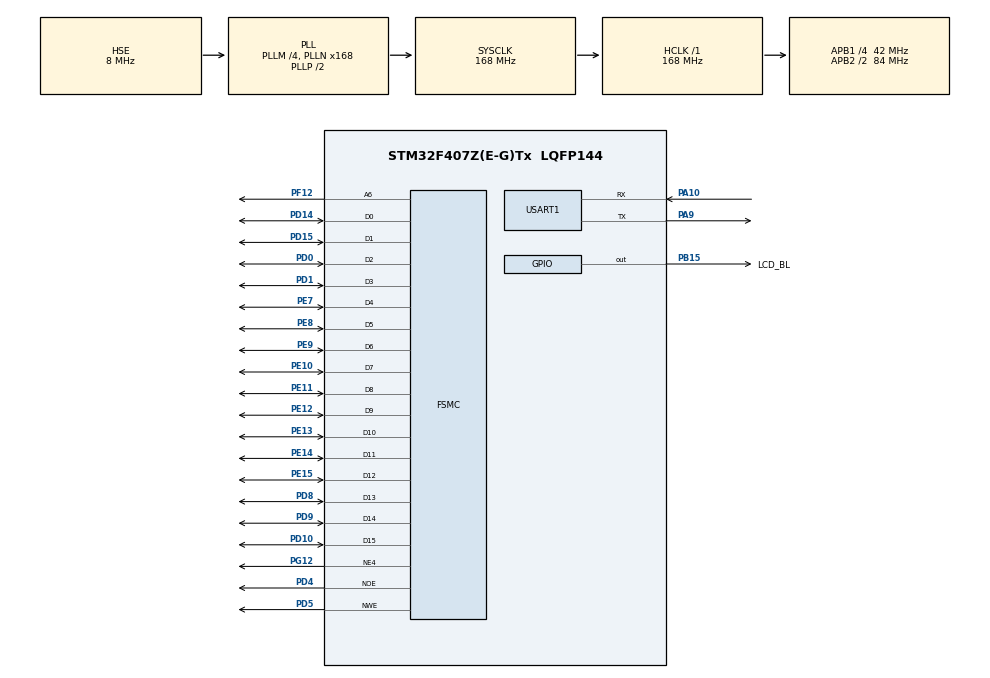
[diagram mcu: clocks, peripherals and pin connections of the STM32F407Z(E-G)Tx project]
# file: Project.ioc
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FSMC.AddressSetupTime4=2
FSMC.BusTurnAroundDuration4=0
FSMC.DataSetupTime4=16
FSMC.ExtendedAddressSetupTime4=4
FSMC.ExtendedBusTurnAroundDuration4=0
FSMC.ExtendedDataSetupTime4=9
FSMC.ExtendedMode4=FSMC_EXTENDED_MODE_ENABLE
Mcu.Family=STM32F4
Mcu.Name=STM32F407Z(E-G)Tx
Mcu.Package=LQFP144
NVIC.PriorityGroup=NVIC_PRIORITYGROUP_4
PA10.Mode=Asynchronous
PA10.Signal=USART1_RX
PA13.Mode=Serial_Wire
PA13.Signal=SYS_JTMS-SWDIO
PA14.Mode=Serial_Wire
PA14.Signal=SYS_JTCK-SWCLK
PA9.Mode=Asynchronous
PA9.Signal=USART1_TX
PB15.GPIO_Label=LCD_BL
PB15.PinState=GPIO_PIN_SET
PB15.Signal=GPIO_Output
PD0.Signal=FSMC_D2_DA2
PD1.Signal=FSMC_D3_DA3
PD10.Signal=FSMC_D15_DA15
PD14.Signal=FSMC_D0_DA0
PD15.Signal=FSMC_D1_DA1
PD4.Signal=FSMC_NOE
PD5.Signal=FSMC_NWE
PD8.Signal=FSMC_D13_DA13
PD9.Signal=FSMC_D14_DA14
PE10.Signal=FSMC_D7_DA7
PE11.Signal=FSMC_D8_DA8
PE12.Signal=FSMC_D9_DA9
PE13.Signal=FSMC_D10_DA10
PE14.Signal=FSMC_D11_DA11
PE15.Signal=FSMC_D12_DA12
PE7.Signal=FSMC_D4_DA4
PE8.Signal=FSMC_D5_DA5
PE9.Signal=FSMC_D6_DA6
PF12.Signal=FSMC_A6
PG12.Mode=NorPsramChipSelect4_4
PG12.Signal=FSMC_NE4
PH0-OSC_IN.Mode=HSE-External-Oscillator
PH0-OSC_IN.Signal=RCC_OSC_IN
PH1-OSC_OUT.Mode=HSE-External-Oscillator
PH1-OSC_OUT.Signal=RCC_OSC_OUT
ProjectManager.HeapSize=0x200
ProjectManager.StackSize=0x400
ProjectManager.TargetToolchain=MDK-ARM V5.32
RCC.48MHZClocksFreq_Value=84000000
RCC.AHBFreq_Value=168000000
RCC.APB1CLKDivider=RCC_HCLK_DIV4
RCC.APB1Freq_Value=42000000
RCC.APB1TimFreq_Value=84000000
RCC.APB2CLKDivider=RCC_HCLK_DIV2
RCC.APB2Freq_Value=84000000
RCC.APB2TimFreq_Value=168000000
RCC.CortexFreq_Value=168000000
RCC.HCLKFreq_Value=168000000
RCC.HSE_VALUE=8000000
RCC.HSI_VALUE=16000000
RCC.LSE_VALUE=32768
RCC.PLLM=4
RCC.PLLN=168
RCC.PLLSourceVirtual=RCC_PLLSOURCE_HSE
RCC.SYSCLKFreq_VALUE=168000000
RCC.SYSCLKSource=RCC_SYSCLKSOURCE_PLLCLK
RCC.VCOOutputFreq_Value=336000000
SH.FSMC_A6.0=FSMC_A6,A6_4
SH.FSMC_D0_DA0.0=FSMC_D0,16b-d4
SH.FSMC_D10_DA10.0=FSMC_D10,16b-d4
SH.FSMC_D11_DA11.0=FSMC_D11,16b-d4
SH.FSMC_D12_DA12.0=FSMC_D12,16b-d4
SH.FSMC_D13_DA13.0=FSMC_D13,16b-d4
SH.FSMC_D14_DA14.0=FSMC_D14,16b-d4
SH.FSMC_D15_DA15.0=FSMC_D15,16b-d4
SH.FSMC_D1_DA1.0=FSMC_D1,16b-d4
SH.FSMC_D2_DA2.0=FSMC_D2,16b-d4
SH.FSMC_D3_DA3.0=FSMC_D3,16b-d4
SH.FSMC_D4_DA4.0=FSMC_D4,16b-d4
SH.FSMC_D5_DA5.0=FSMC_D5,16b-d4
SH.FSMC_D6_DA6.0=FSMC_D6,16b-d4
SH.FSMC_D7_DA7.0=FSMC_D7,16b-d4
SH.FSMC_D8_DA8.0=FSMC_D8,16b-d4
SH.FSMC_D9_DA9.0=FSMC_D9,16b-d4
SH.FSMC_NOE.0=FSMC_NOE,Lcd4
SH.FSMC_NWE.0=FSMC_NWE,Lcd4
USART1.VirtualMode=VM_ASYNC
board=custom

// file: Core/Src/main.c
/* USER CODE BEGIN Header */
/**
  ******************************************************************************
  * @file           : main.c
  * @brief          : Main program body
  ******************************************************************************
  * @attention
  *
  * Copyright (c) 2026 STMicroelectronics.
  * All rights reserved.
  *
  * This software is licensed under terms that can be found in the LICENSE file
  * in the root directory of this software component.
  * If no LICENSE file comes with this software, it is provided AS-IS.
  *
  ******************************************************************************
  */
/* USER CODE END Header */
#include "main.h"
#include "usart.h"
#include "gpio.h"
#include "fsmc.h"

/* USER CODE BEGIN Includes */

#include <stdio.h>
#include "lcd.h"
#include <math.h>

/* USER CODE END Includes */

void SystemClock_Config(void);
/* USER CODE BEGIN PFP */

static void draw_sine_wave_time(float time_offset, uint16_t color);
static void draw_static_elements(void);

/* USER CODE END PFP */

int main(void)
{

  /* MCU Configuration--------------------------------------------------------*/

  /* Reset of all peripherals, Initializes the Flash interface and the Systick. */
  HAL_Init();

  /* Configure the system clock */
  SystemClock_Config();

  /* Initialize all configured peripherals */
  MX_GPIO_Init();
  MX_FSMC_Init();
  MX_USART1_UART_Init();
  /* USER CODE BEGIN 2 */

  lcd_init();

  /* 绘制静态元素（坐标轴、刻度、标签），只绘制一次 */
  draw_static_elements();

  /* USER CODE END 2 */

  /* Infinite loop */
  /* USER CODE BEGIN WHILE */
    lcd_display_on();  /* 开启LCD显示 */

    /* 主循环：持续绘制动态正弦波 */
    while (1)
    {
      /* 获取当前运行时间（秒） */
      float time_s = (float)HAL_GetTick() * 0.001f; /* 毫秒转换为秒 */

      /* 每200ms切换一次波形颜色（红色和蓝色交替） */
      uint16_t color = (((uint32_t)(HAL_GetTick() / 200)) & 1) ? RED : BLUE;

      /* 绘制正弦波 */
      draw_sine_wave_time(time_s, color);

      /* 延时40ms，控制刷新率约为25FPS */
      HAL_Delay(40);
    /* USER CODE END WHILE */

    }
}

void SystemClock_Config(void)
{
  RCC_OscInitTypeDef RCC_OscInitStruct = {0};
  RCC_ClkInitTypeDef RCC_ClkInitStruct = {0};

  /** Configure the main internal regulator output voltage
  */
  __HAL_RCC_PWR_CLK_ENABLE();
  __HAL_PWR_VOLTAGESCALING_CONFIG(PWR_REGULATOR_VOLTAGE_SCALE1);

  /** Initializes the RCC Oscillators according to the specified parameters
  * in the RCC_OscInitTypeDef structure.
  */
  RCC_OscInitStruct.OscillatorType = RCC_OSCILLATORTYPE_HSE;
  RCC_OscInitStruct.HSEState = RCC_HSE_ON;
  RCC_OscInitStruct.PLL.PLLState = RCC_PLL_ON;
  RCC_OscInitStruct.PLL.PLLSource = RCC_PLLSOURCE_HSE;
  RCC_OscInitStruct.PLL.PLLM = 4;
  RCC_OscInitStruct.PLL.PLLN = 168;
  RCC_OscInitStruct.PLL.PLLP = RCC_PLLP_DIV2;
  RCC_OscInitStruct.PLL.PLLQ = 4;
  if (HAL_RCC_OscConfig(&RCC_OscInitStruct) != HAL_OK)
  {
    Error_Handler();
  }

  /** Initializes the CPU, AHB and APB buses clocks
  */
  RCC_ClkInitStruct.ClockType = RCC_CLOCKTYPE_HCLK|RCC_CLOCKTYPE_SYSCLK
                              |RCC_CLOCKTYPE_PCLK1|RCC_CLOCKTYPE_PCLK2;
  RCC_ClkInitStruct.SYSCLKSource = RCC_SYSCLKSOURCE_PLLCLK;
  RCC_ClkInitStruct.AHBCLKDivider = RCC_SYSCLK_DIV1;
  RCC_ClkInitStruct.APB1CLKDivider = RCC_HCLK_DIV4;
  RCC_ClkInitStruct.APB2CLKDivider = RCC_HCLK_DIV2;

  if (HAL_RCC_ClockConfig(&RCC_ClkInitStruct, FLASH_LATENCY_5) != HAL_OK)
  {
    Error_Handler();
  }
}

/* USER CODE BEGIN 4 */

/**
 * @brief LCD显示参数配置
 *
 * LCD_WIDTH: 屏幕宽度（像素）
 * LCD_HEIGHT: 屏幕高度（像素）
 * TIME_WINDOW_S: 显示的时间窗口大小（秒）
 * VOLTAGE_RANGE_V: 电压显示范围（伏特）
 * WAVE_PERIOD_S: 正弦波周期（秒）
 * WAVE_AMPLITUDE_V: 正弦波幅度（伏特）
 */
#define LCD_WIDTH 240
#define LCD_HEIGHT 320

#define LEFT_MARGIN 50                     /* 左侧边距，用于Y轴标签显示 */
#define LABEL_MARGIN 5                     /* 标签距离屏幕左边的边距 */

static float TIME_WINDOW_S = 1.0f;        /* 时间窗口：显示1秒内的波形 */
static float VOLTAGE_RANGE_V = 4.0f;      /* 电压范围：±2V */
static float WAVE_PERIOD_S = 0.5f;        /* 波形周期：0.5秒（2Hz） */
static float WAVE_AMPLITUDE_V = 1.0f;     /* 波形幅度：1V */

static const int TOP_MARGIN = 80;         /* 顶部边距，Y轴从更下方开始 */
static const int BOTTOM_MARGIN = 15;      /* 底部边距，避免X轴标签被截断 */

/**
 * @brief 绘制静态元素（坐标轴、刻度、标签），只需调用一次
 */
static void draw_static_elements(void)
{
  /* 计算可绘制区域 */
  const int drawable_x0 = LEFT_MARGIN;
  const int drawable_x1 = LCD_WIDTH - 1;
  const int drawable_w = drawable_x1 - drawable_x0 + 1;
  const int drawable_y0 = TOP_MARGIN;
  const int drawable_y1 = LCD_HEIGHT - 1 - BOTTOM_MARGIN;
  const int drawable_h = drawable_y1 - drawable_y0 + 1;

  /* 清屏一次 */
  lcd_clear(WHITE);

  /* 绘制坐标轴 */
  lcd_draw_line(drawable_x0, drawable_y0, drawable_x0, drawable_y1, BLACK); /* Y轴 */
  lcd_draw_line(drawable_x0, drawable_y1, drawable_x1, drawable_y1, BLACK); /* X轴在底部 */

  /* 绘制X轴刻度（不绘制时间标签，因为时间是动态的） */
  const int x_ticks = 5;
  for (int i = 0; i < x_ticks; i++) {
    float frac = (float)i / (float)(x_ticks - 1);
    int tx = drawable_x0 + (int)(frac * (drawable_w - 1));
    lcd_draw_line(tx, drawable_y1 - 4, tx, drawable_y1 + 4, BLACK);
  }

  /* 绘制Y轴刻度和电压标签（静态） */
  const int y_ticks = 5;
  for (int i = 0; i < y_ticks; i++) {
    float frac = (float)i / (float)(y_ticks - 1);
    int ty = drawable_y0 + (int)(frac * (drawable_h - 1));
    lcd_draw_line(drawable_x0 - 4, ty, drawable_x0 + 4, ty, BLACK);

    float v_label = (1.0f - frac) * (VOLTAGE_RANGE_V / 2.0f) - frac * (VOLTAGE_RANGE_V / 2.0f);
    char vstr[16];
    snprintf(vstr, sizeof(vstr), "%.1fV", v_label);
    lcd_show_string(LABEL_MARGIN, ty - 6, 40, 12, 12, vstr, BLACK);
  }
}

/**
 * @brief 绘制正弦波函数（优化版：局部更新，减少频闪）
 * @param time_offset 当前时间偏移量（秒）
 * @param color 波形颜色（16位RGB颜色）
 *
 * 优化策略：
 * 1. 不再使用lcd_fill清除整个区域，避免大面积白色帧
 * 2. 只擦除上一帧的波形线（用背景色重绘）
 * 3. 然后绘制新波形
 */
static void draw_sine_wave_time(float time_offset, uint16_t color)
{
  const float two_pi = 2.0f * 3.14159265359f;

  /* 计算可绘制区域 */
  const int drawable_x0 = LEFT_MARGIN;
  const int drawable_x1 = LCD_WIDTH - 1;
  const int drawable_w = drawable_x1 - drawable_x0 + 1;
  const int drawable_y0 = TOP_MARGIN;
  const int drawable_y1 = LCD_HEIGHT - 1 - BOTTOM_MARGIN;
  const int drawable_h = drawable_y1 - drawable_y0 + 1;

  /* 使用静态变量保存上一帧波形数据用于擦除 */
  static int16_t prev_wave_y[240];  /* 存储上一帧每个x对应的y值 */
  static int prev_wave_valid = 0;   /* 上一帧数据是否有效 */

  /* 波形绘制区域：从Y轴右侧开始，避免擦除Y轴 */
  const int wave_x0 = drawable_x0 + 1;  /* Y轴右侧开始 */
  const int wave_w = drawable_w - 1;    /* 波形宽度 */

  /* 如果有上一帧数据，先用背景色擦除上一帧波形（直接重绘线段，高效） */
  if (prev_wave_valid) {
    int prev_x = 0;
    int16_t prev_y = 0;
    int has_prev = 0;
    for (int i = 0; i < wave_w; i++) {
      int x = wave_x0 + i;
      int16_t y = prev_wave_y[i];
      if (has_prev) {
        lcd_draw_line(prev_x, prev_y, x, y, WHITE);  /* 用白色重绘上一帧波形 */
      } else {
        has_prev = 1;
      }
      prev_x = x;
      prev_y = y;
    }
  }

  /* 重绘X轴线（底部） */
  lcd_draw_line(drawable_x0, drawable_y1, drawable_x1, drawable_y1, BLACK);

  /* 重绘Y轴刻度线（可能被波形擦除） */
  const int y_ticks = 5;
  for (int i = 0; i < y_ticks; i++) {
    float frac = (float)i / (float)(y_ticks - 1);
    int ty = drawable_y0 + (int)(frac * (drawable_h - 1));
    lcd_draw_line(drawable_x0 - 4, ty, drawable_x0 + 4, ty, BLACK);
  }

  /* 计算并绘制新波形，同时保存当前帧数据 */
  int prev_x = 0;
  int16_t prev_y = 0;
  int has_prev = 0;

  for (int i = 0; i < wave_w; i++) {
    int x = wave_x0 + i;
    float t = time_offset - TIME_WINDOW_S * (1.0f - ((float)i / (float)(wave_w - 1)));
    float value_v = WAVE_AMPLITUDE_V * sinf(two_pi * t / WAVE_PERIOD_S);
    float pixels_per_volt = (drawable_h / 2.0f) / (VOLTAGE_RANGE_V / 2.0f);
    int16_t y = (int16_t)(drawable_y0 + drawable_h / 2 - (value_v * pixels_per_volt));

    if (y < drawable_y0) y = drawable_y0;
    if (y > drawable_y1) y = drawable_y1;

    /* 保存当前点的y值 */
    prev_wave_y[i] = y;

    if (has_prev) {
      lcd_draw_line(prev_x, prev_y, x, y, color);
    } else {
      has_prev = 1;
    }

    prev_x = x;
    prev_y = y;
  }

  prev_wave_valid = 1;

  /* 绘制横坐标时间标签（动态，每帧更新） */
  const int x_ticks = 5;
  for (int i = 0; i < x_ticks; i++) {
    float frac = (float)i / (float)(x_ticks - 1);
    int tx = wave_x0 + (int)(frac * (wave_w - 1));

    /* 计算对应的时间标签 */
    float t_label = time_offset - TIME_WINDOW_S * (1.0f - frac);
    char lbl[16];
    snprintf(lbl, sizeof(lbl), "%.2fs", t_label);
    /* 先用白色清除旧标签区域，再绘制新标签（X轴下方） */
    lcd_fill(tx - 20, drawable_y1 + 2, tx + 19, drawable_y1 + 14, WHITE);
    lcd_show_string(tx - 20, drawable_y1 + 2, 40, 12, 12, lbl, BLACK);
  }
}

/**
 * @brief 重定向printf输出到串口
 * @param ch 要发送的字符
 * @param f 文件指针（未使用）
 * @return 发送的字符
 *
 * 功能：将标准输出重定向到USART1，用于调试信息输出
 */
int fputc(int ch, FILE *f)
{
  HAL_UART_Transmit(&huart1, (uint8_t*)&ch, 1, HAL_MAX_DELAY);
  return ch;
}

/* USER CODE END 4 */

void Error_Handler(void)
{
  __disable_irq();
  while (1)
  {
  }
}
